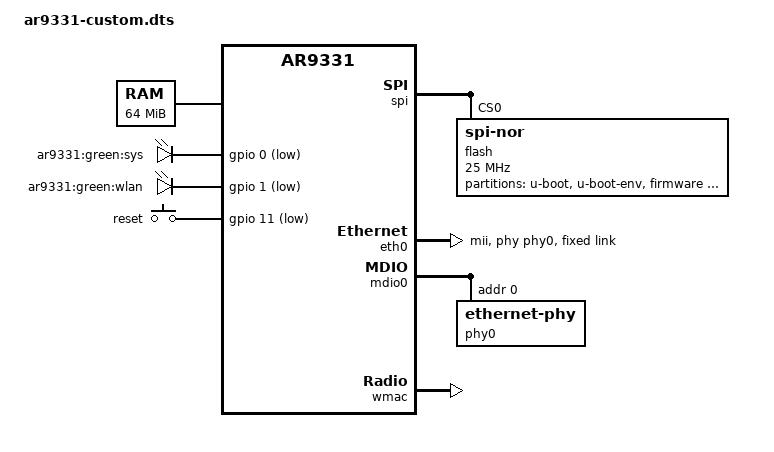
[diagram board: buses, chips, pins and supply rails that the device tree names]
// AR9331自定义设备树补丁
// 适用于64MB DDR2，16MB SPI flash，单网口配置

/ {
    compatible = "qca,ar9331";

    memory@0 {
        device_type = "memory";
        reg = <0x0 0x4000000>;  // 64MB内存
    };

    chosen {
        bootargs = "console=ttyATH0,115200 rootfstype=squashfs,jffs2 noinitrd";
    };

    leds {
        compatible = "gpio-leds";

        // 系统状态LED（通常连接到GPIO0）
        sys_led: sys {
            label = "ar9331:green:sys";
            gpios = <&gpio 0 GPIO_ACTIVE_LOW>;
            default-state = "on";
            linux,default-trigger = "heartbeat";
        };

        // 无线状态LED（通常连接到GPIO1）
        wlan_led: wlan {
            label = "ar9331:green:wlan";
            gpios = <&gpio 1 GPIO_ACTIVE_LOW>;
            default-state = "off";
            linux,default-trigger = "phy0tpt";
        };
    };

    gpio-keys {
        compatible = "gpio-keys";

        reset {
            label = "reset";
            linux,code = <KEY_RESTART>;
            gpios = <&gpio 11 GPIO_ACTIVE_LOW>;  // 复位按钮GPIO
            debounce-interval = <60>;
        };
    };
};

&spi {
    status = "okay";
    num-cs = <1>;

    flash@0 {
        compatible = "jedec,spi-nor";
        reg = <0>;
        spi-max-frequency = <25000000>;

        partitions {
            compatible = "fixed-partitions";
            #address-cells = <1>;
            #size-cells = <1>;

            uboot: partition@0 {
                label = "u-boot";
                reg = <0x0 0x20000>;
                read-only;
            };

            u-boot-env: partition@20000 {
                label = "u-boot-env";
                reg = <0x20000 0x10000>;
                read-only;
            };

            firmware: partition@30000 {
                label = "firmware";
                reg = <0x30000 0xfd0000>;
            };

            art: partition@1000000 {
                label = "art";
                reg = <0x1000000 0x10000>;
                read-only;
            };
        };
    };
};

&eth0 {
    status = "okay";
    phy-handle = <&phy0>;
    phy-mode = "mii";

    fixed-link {
        speed = <100>;
        full-duplex;
    };
};

&mdio0 {
    phy0: ethernet-phy@0 {
        reg = <0>;
    };
};

&wmac {
    status = "okay";
    qca,no-eeprom;
};
